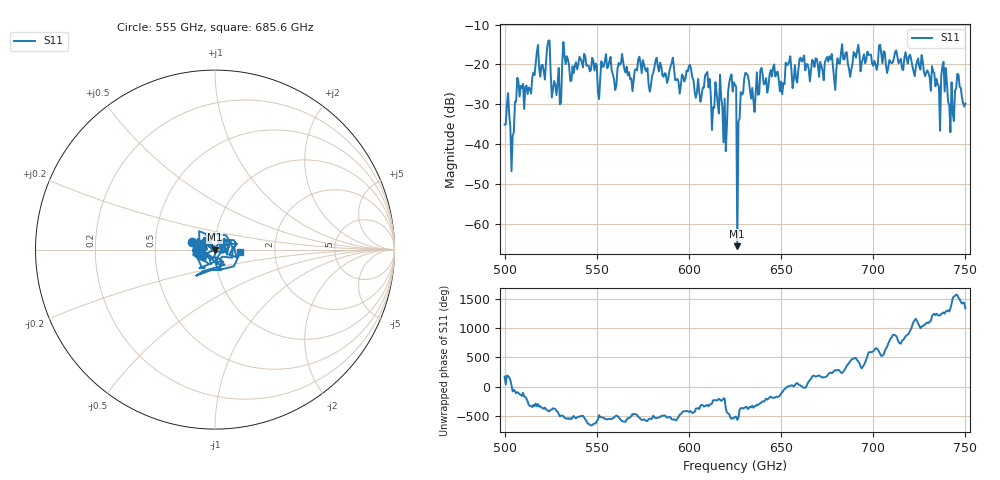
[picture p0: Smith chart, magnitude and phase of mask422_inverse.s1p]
!Created with skrf (http://scikit-rf.org).
# GHz S MA R 50.0
!freq magS11 angS11
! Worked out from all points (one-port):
!   401 points, 500 GHz to 750 GHz, reference 50 ohm
!   lowest |S11| = -65.5 dB at 626.2 GHz (marker M1), VSWR 1.00, Z = 50 + j0.0257 ohm
!   |S11| at or under -10 dB: start of sweep to end of sweep
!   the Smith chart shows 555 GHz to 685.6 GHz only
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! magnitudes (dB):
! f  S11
! 500 GHz  -35.0
! 503.8 GHz  -46.7
! 506.9 GHz  -23.3
! 513.8 GHz  -26.1
! 516.9 GHz  -19.9
! 523.8 GHz  -14.0
! 526.9 GHz  -24.1
! 531.2 GHz  -19.8
! 533.1 GHz  -19.9
! 550.6 GHz  -27.0
! 562.5 GHz  -20.1
! 593.8 GHz  -23.6
! 610 GHz  -21.9
! 619.4 GHz  -28.5
! 623.8 GHz  -26.8
! 625 GHz  -25.1
! 626.2 GHz  -65.5
! 627.5 GHz  -33.5
! 631.2 GHz  -22.3
! 635 GHz  -29.1
! 656.2 GHz  -25.9
! 687.5 GHz  -23.1
! 718.8 GHz  -19.8
! 735 GHz  -24.9
! 738.1 GHz  -19.3
! 742.5 GHz  -24.5
! 745.6 GHz  -22.4
! 750 GHz  -29.8
